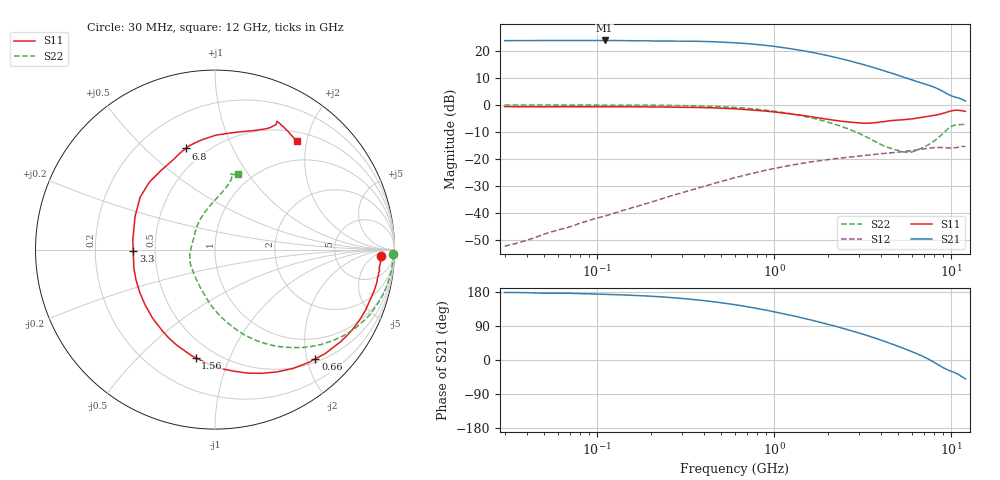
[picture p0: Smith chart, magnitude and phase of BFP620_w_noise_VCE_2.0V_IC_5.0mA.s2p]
! Infineon Technologies  Discrete & RF Semiconductors
! BFP620
! VCE =  2.0 V,  IC =  5.0 mA
! Common Emitter S-Parameters:  Nov 2015
# GHz  S  MA  R  50
!  f  S11  S21  S12  S22
! GHz  MAG  ANG  MAG  ANG  MAG  ANG  MAG  ANG
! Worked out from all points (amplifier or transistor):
!   239 points, 30 MHz to 12 GHz, reference 50 ohm
!   highest |S21| = 23.9 dB at 110 MHz (marker M1)
!   |S21| within 3 dB of that: start of sweep to 1.221 GHz
!   unconditionally stable (mu >= 1): 5.208 GHz to end of sweep
!   at 300 MHz: K = 0.09, MSG = 28.1 dB, |S12| = -32.6 dB
!   at 1.88 GHz: K = 0.50, MSG = 19.6 dB, |S12| = -20.5 dB
!   at 12 GHz: K = 1.22, MAG = 5.6 dB, |S12| = -15.5 dB
!   lowest NFmin = 0.63 dB at 450 MHz
!   S11 on the Smith chart (normalised r, x): 30 MHz: 21, -10; 660 MHz: 0.56, -2.16; 1.56 GHz: 0.39, -0.76; 3.3 GHz: 0.37, -0.01; 6.8 GHz: 0.39, +0.68; 12 GHz: 0.65, +1.83
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0.03  0.927 -2.1  15.47 178.2  0.0024 75.5  0.9924 -1.5
0.05  0.9179 -3.5  15.54 176.2  0.004 80.2  0.9927 -2.4
0.07  0.9231 -5.1  15.57 176.1  0.0055 83.1  0.9928 -3.5
0.085  0.9209 -6.2  15.54 174.9  0.0068 82.0  0.9923 -4.2
0.11  0.9196 -8.2  15.6 173.2  0.0087 82.4  0.9908 -5.6
0.165  0.919 -12.1  15.48 170.4  0.0129 81.6  0.9864 -8.3
0.24  0.9095 -17.5  15.34 166.0  0.0188 79.5  0.978 -12.1
0.3  0.9039 -22.0  15.25 162.5  0.0234 77.5  0.9693 -15.0
0.4  0.8886 -29.2  14.96 156.7  0.0308 73.9  0.9487 -19.9
0.6  0.8442 -43.3  14.13 145.9  0.0448 66.5  0.8955 -29.4
0.66  0.8267 -47.4  13.84 142.8  0.0484 64.2  0.8752 -31.9
0.8  0.7923 -56.7  13.13 135.9  0.0566 59.5  0.829 -37.8
1  0.738 -69.1  12.12 127.1  0.0663 53.5  0.7609 -45.2
1.2  0.687 -80.8  11.14 119.2  0.0744 48.3  0.6953 -51.7
1.56  0.612 -100.2  9.66 107.2  0.086 40.8  0.5911 -62.1
1.64  0.5972 -104.5  9.368 104.7  0.0883 39.4  0.5698 -64.2
2.4  0.4968 -141.5  7.108 84.4  0.1036 28.1  0.396 -82.4
3.3  0.4558 -178.9  5.393 65.7  0.1161 18.7  0.256 -103.6
4.5  0.5093 144.9  3.949 43.9  0.1285 8.4  0.1591 -149.6
6.8  0.5867 106.1  2.533 11.0  0.1506 -7.3  0.158 131.1
9  0.6967 72.1  1.763 -20.4  0.1619 -26.7  0.2986 86.1
12  0.7564 52.9  1.177 -49.9  0.1688 -44.1  0.4395 73.3
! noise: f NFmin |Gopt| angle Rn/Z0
0.45  0.63  0.47  4  0.17
0.9  0.66  0.43  12  0.17
1.9  0.7  0.3  37  0.17
2.4  0.76  0.26  58  0.14
3.5  0.84  0.14  93  0.13
5.5  1.25  0.14  -174  0.13
10  1.94  0.61  -57  0.84
